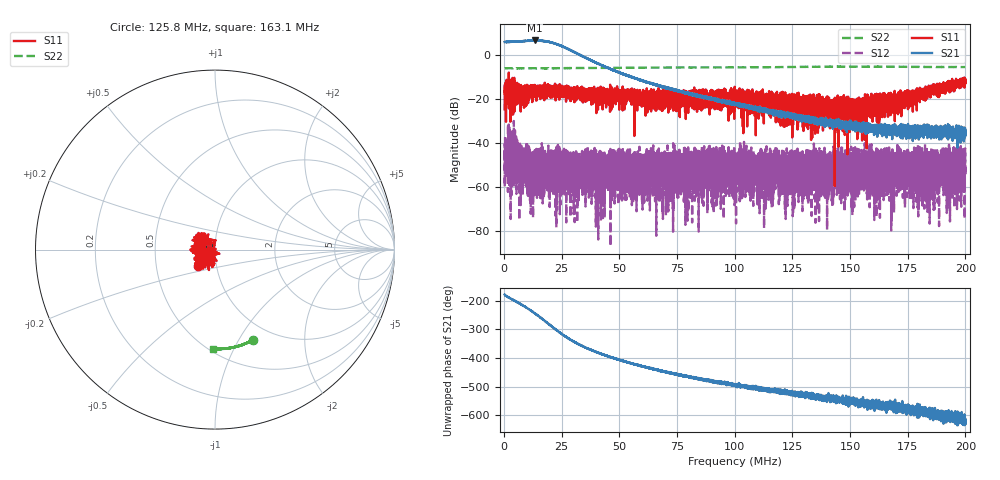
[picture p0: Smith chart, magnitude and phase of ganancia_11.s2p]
# Hz S DB R 50
! CMT, M5065, 19127446, 24.2.4/2
! Date: 11/8/2024 3:51:17 PM
! Data: Format (Calibration Info)
! Freq	S11:dB/Ang(F2)	S21:dB/Ang(F2)	S12:dB/Ang(F2)	S22:dB/Ang(F2)
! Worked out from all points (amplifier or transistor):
!   9000 points, 300 kHz to 200 MHz, reference 50 ohm
!   highest |S21| = 6.8 dB at 13.42 MHz (marker M1)
!   |S21| within 3 dB of that: start of sweep to 25.99 MHz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
!   unconditionally stable (mu >= 1): start of sweep to end of sweep
!   at 33.59 MHz: K = 154.41, MAG = 1.5 dB, |S12| = -52.8 dB
!   at 100.2 MHz: K = 931.60, MAG = -20.4 dB, |S12| = -46.5 dB
!   at 200 MHz: K = 8352.19, MAG = -33.1 dB, |S12| = -53.2 dB
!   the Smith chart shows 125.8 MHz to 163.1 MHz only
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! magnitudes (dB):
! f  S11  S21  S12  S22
! 300 kHz  -24.5  6.1  -42.8  -5.9
! 1.343 MHz  -12.7  6.1  -47.5  -5.9
! 13.42 MHz  -16.9  6.8  -59.3  -5.8
! 33.59 MHz  -14.4  0.0  -52.8  -5.7
! 66.87 MHz  -20.3  -13.8  -58.2  -5.5
! 100.2 MHz  -22.5  -21.8  -46.5  -5.4
! 133.4 MHz  -23.2  -28.0  -47.6  -5.2
! 141.5 MHz  -30.1  -31.0  -47.0  -5.1
! 143.9 MHz  -24.5  -30.9  -47.7  -5.1
! 154.7 MHz  -20.0  -32.4  -51.4  -5.1
! 156.9 MHz  -21.7  -31.7  -44.8  -5.1
! 162 MHz  -23.5  -32.9  -58.9  -5.1
! 165 MHz  -19.7  -33.4  -47.1  -5.1
! 166.7 MHz  -20.2  -32.5  -51.9  -5.2
! 168.2 MHz  -18.9  -32.6  -62.2  -5.2
! 171.5 MHz  -19.8  -35.5  -51.6  -5.2
! 173.7 MHz  -21.3  -31.9  -51.6  -5.2
! 188.3 MHz  -15.2  -33.2  -48.4  -5.3
! 190.3 MHz  -14.0  -36.7  -53.0  -5.3
! 192.5 MHz  -13.0  -35.8  -51.8  -5.3
! 197.8 MHz  -12.9  -37.9  -46.9  -5.3
! 200 MHz  -12.1  -34.9  -53.2  -5.3
